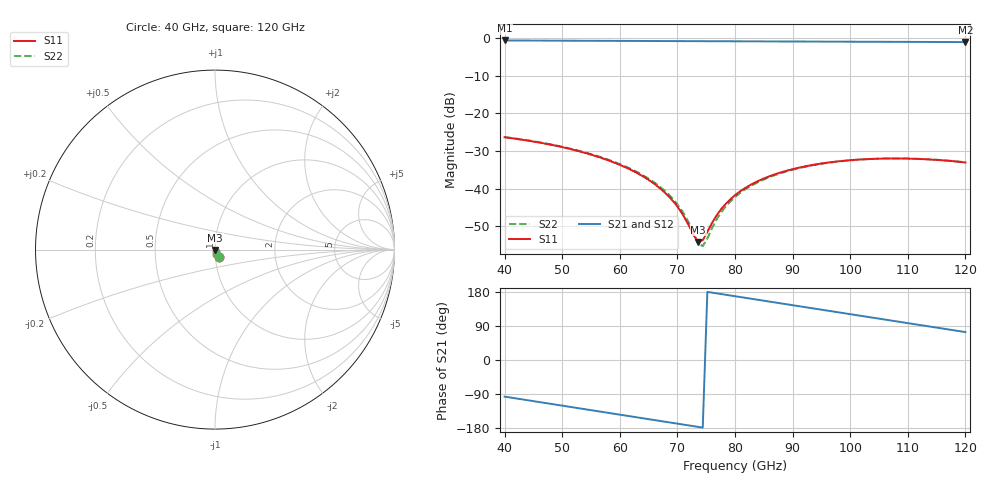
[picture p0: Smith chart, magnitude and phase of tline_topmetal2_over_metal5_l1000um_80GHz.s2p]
#  GHZ S DB R 50
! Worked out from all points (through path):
!   101 points, 40 GHz to 120 GHz, reference 50 ohm
!   highest |S21| = -0.65 dB at 40 GHz (marker M1); lowest = -1.1 dB at 120 GHz (marker M2)
!   group delay of S21, straight-line fit = 6.59 ps
!   lowest |S11| = -54.1 dB at 73.6 GHz (marker M3), VSWR 1.00, Z = 50.1 - j0.174 ohm
!   |S11| at or under -10 dB: start of sweep to end of sweep
!   |S22| runs from -55.2 to -26.3 dB; largest |S21 - S12| = 1e-13
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40  -26.34 -63.0  -0.65 -96.6  -0.65 -96.6  -26.28 -63.4
46.4  -27.84 -77.2  -0.68 -111.9  -0.68 -111.9  -27.75 -77.6
53.6  -30.33 -92.7  -0.73 -129.0  -0.73 -129.0  -30.19 -93.4
61.6  -34.75 -108.7  -0.77 -148.0  -0.77 -148.0  -34.52 -109.8
64.8  -37.44 -113.8  -0.79 -155.6  -0.79 -155.6  -37.14 -115.3
67.2  -40.15 -116.3  -0.80 -161.3  -0.80 -161.3  -39.75 -118.4
68.8  -42.50 -116.3  -0.81 -165.1  -0.81 -165.1  -42.01 -119.2
70.4  -45.57 -113.4  -0.82 -168.9  -0.82 -168.9  -44.95 -117.8
72  -49.81 -101.8  -0.83 -172.7  -0.83 -172.7  -49.07 -110.0
72.8  -52.32 -87.4  -0.83 -174.6  -0.83 -174.6  -51.75 -99.5
73.6  -54.14 -62.2  -0.84 -176.5  -0.84 -176.5  -54.46 -78.3
74.4  -53.63 -32.5  -0.84 -178.4  -0.84 -178.4  -55.23 -44.9
76  -49.10 -1.3  -0.85 177.8  -0.85 177.8  -50.47 -3.0
77.6  -45.40 7.4  -0.86 174.0  -0.86 174.0  -46.25 7.5
80  -41.71 9.4  -0.87 168.3  -0.87 168.3  -42.21 9.8
82.4  -39.22 7.4  -0.88 162.6  -0.88 162.6  -39.57 7.6
85.6  -36.91 2.5  -0.90 155.1  -0.90 155.1  -37.14 2.5
93.6  -33.64 -13.2  -0.94 136.1  -0.94 136.1  -33.75 -13.4
100.8  -32.33 -28.4  -0.98 119.1  -0.98 119.1  -32.37 -28.9
107.2  -31.96 -42.1  -1.01 103.9  -1.01 103.9  -31.97 -42.8
113.6  -32.21 -55.6  -1.05 88.8  -1.05 88.8  -32.17 -56.6
120  -33.04 -69.0  -1.08 73.7  -1.08 73.7  -32.97 -70.3
